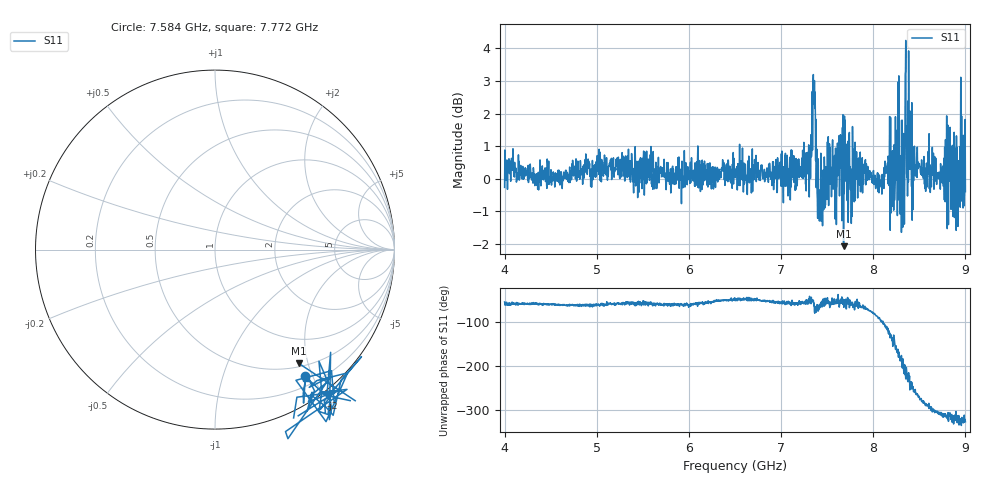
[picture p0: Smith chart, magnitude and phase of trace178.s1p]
! Created with skrf 1.8.0 (http://scikit-rf.org).
# Hz S RI R 50.0
!freq ReS11 ImS11
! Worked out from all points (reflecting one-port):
!   1601 points, 4 GHz to 9 GHz, reference 50 ohm
!   lowest |S11| = -2.1 dB at 7.678 GHz (marker M1), VSWR 8.40, Z = 27.7 - j92.4 ohm
!   phase of S11 starts at -53 deg and turns -274 deg over the sweep
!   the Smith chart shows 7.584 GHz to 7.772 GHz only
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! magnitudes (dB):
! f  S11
! 4 GHz  -0.3
! 4.069 GHz  0.5
! 4.625 GHz  -0.3
! 5.25 GHz  0.0
! 5.875 GHz  0.2
! 6.5 GHz  0.3
! 7.125 GHz  0.5
! 7.288 GHz  0.8
! 7.353 GHz  2.3
! 7.369 GHz  2.7
! 7.4 GHz  0.6
! 7.428 GHz  -0.1
! 7.538 GHz  0.2
! 7.591 GHz  0.9
! 7.678 GHz  -2.1
! 7.75 GHz  0.0
! 8.081 GHz  -0.1
! 8.156 GHz  0.5
! 8.209 GHz  0.9
! 8.259 GHz  1.5
! 8.312 GHz  1.8
! 8.334 GHz  0.3
! 8.375 GHz  0.5
! 8.447 GHz  1.0
! 8.841 GHz  0.5
! 8.919 GHz  -1.5
! 8.972 GHz  0.6
! 9 GHz  -0.4
